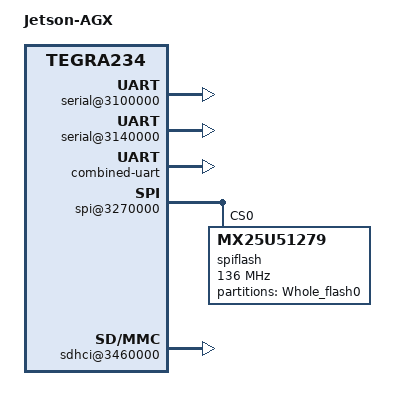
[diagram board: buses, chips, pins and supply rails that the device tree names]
/*
 * Copyright (c) 2021, NVIDIA CORPORATION.  All rights reserved.
 *
 * This program is free software; you can redistribute it and/or modify it
 * under the terms and conditions of the GNU General Public License,
 * version 2, as published by the Free Software Foundation.
 *
 * This program is distributed in the hope it will be useful, but WITHOUT
 * ANY WARRANTY; without even the implied warranty of MERCHANTABILITY or
 * FITNESS FOR A PARTICULAR PURPOSE.  See the GNU General Public License for
 * more details.
 *
 * You should have received a copy of the GNU General Public License
 * along with this program.  If not, see <http://www.gnu.org/licenses/>.
 */

/*
 * T234 P3701-0000 common DTSI file.
 */

#include <dt-bindings/types.h>
#include <tegra234-soc/tegra234-soc-cvm.dtsi>
#include "tegra234-p3701-fixed-regulator.dtsi"
#include "tegra234-p3701-power-tree.dtsi"
#include "tegra234-p3701-thermal.dtsi"
#include "tegra234-p3701-powermon.dtsi"

/ {
	model = "Jetson-AGX";
	compatible = "nvidia,tegra234";

	#address-cells = <2>;
	#size-cells = <2>;

	chosen {
		bootargs ="console=ttyTCU0,115200";
		board-has-eeprom;
		nvidia,tegra-joint_xpu_rail;
	};

	cpufreq {
		compatible = "nvidia,t234-cpufreq";
		status = "okay";
		cpu_emc_map = <1907200 1600000>,
			    <1881600 800000>,
			    <1574400 665000>,
			    <1267200 408000>;
	};
#if defined(LINUX_VERSION) && LINUX_VERSION > 414
	ccplex {
		compatible = "nvidia,t234-ccplex";
		cpu_emc_map = <1907200 1600000>,
			    <1881600 800000>,
			    <1574400 665000>,
			    <1267200 408000>;
	};
#endif
	pmc@c370000 {
		nvidia,invert-interrupt;
	};

	arm-pmu {
		status = "okay";
	};

	power-domain {
		status = "okay";
	};

	interrupt-controller {
		status = "okay";
	};

	cpuidle {
		compatible = "nvidia,tegra19x-cpuidle";
		status = "okay";
	};

	thermal-zones {
		status = "disabled";
	};

	reserved-memory {
		ramoops_carveout {
			status = "okay";
		};
	};

	serial@3100000 {
		compatible = "nvidia,tegra186-hsuart";
		status = "okay";
	};

	serial@3140000 {
		compatible = "nvidia,tegra186-hsuart";
		status = "okay";
	};

	combined-uart {
		console-port;
		combined-uart;
		status = "okay";
	};

	pwm@c340000 {
		status = "disabled";
	};

	rtcpu@bc00000 {
		status = "disabled";
		nvidia,cmd-timeout = <2000>;
	};

	eeprom-manager {
		data-size = <0x100>;
		bus@0 {
			i2c-bus = <&gen1_i2c>;
			eeprom@0 {
				slave-address = <0x50>;
				label = "cvm";
			};
		};
	};

	soctherm-oc-event {
		status = "disabled";
	};

	/* QSPI flash MX25U51279 is controlled by qspi0 */
	spi@3270000 {
		spi-max-frequency = <136000000>;
		status = "okay";
		prod-settings {
			#prod-cells = <3>;
			prod {
				prod = <0x04 0x000000ff 0x10>;
			};
		};
		/* QSPI NOR */
		spiflash@0 {
			#address-cells = <1>;
			#size-cells = <1>;
			compatible = "MX25U51279";
			reg = <0>;
			spi-max-frequency = <136000000>;
			partition@0 {
				label = "Whole_flash0";
				reg = <0x00000000 0x4000000>;	/* size of QSPI-NOR 64MB == 512Mb */
			};
			controller-data {
				nvidia,x1-len-limit = <16>;
				nvidia,x1-bus-speed = <136000000>; /* In Mhz */
				nvidia,x1-dymmy-cycle = <8>;
				nvidia,x4-bus-speed = <136000000>;
				nvidia,x4-dymmy-cycle = <8>;
				nvidia,x4-is-ddr=<0>;
				nvidia,ctrl-bus-clk-ratio = <1>;
			};
		};
	};

	sdhci@3460000 {
		uhs-mask = <0x0>;
		no-sdio;
		no-sd;
		supports-cqe;
		status = "okay";
	};

	efuse@3810000 {
		status = "okay";
	};

	efuse-burn {
		status = "okay";
	};

	rtc@c2a0000 {
		status = "okay";
	};

	pmc@c360000 {
#if TEGRA_PMC_VERSION >= DT_VERSION_2
		nvidia,invert-interrupt;
#endif
		iopad-defaults {
			sdmmc-io-pads {
				pins = "sdmmc1-hv", "sdmmc3-hv";
				nvidia,enable-voltage-switching;
			};
		};
	};

#if TEGRA_PMC_VERSION < DT_VERSION_2
	pmc@c370000 {
		nvidia,invert-interrupt;
	};
#endif

};
